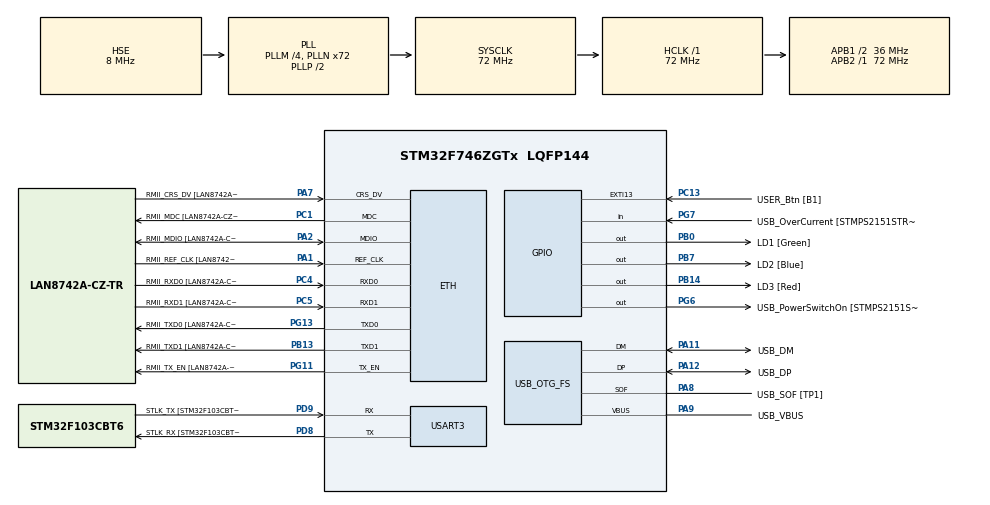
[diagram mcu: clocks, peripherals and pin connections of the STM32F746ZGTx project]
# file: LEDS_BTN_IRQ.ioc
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ETH.MediaInterface=ETH_MEDIA_INTERFACE_RMII
ETH.PHY_Name=LAN8742A_PHY_ADDRESS
ETH.PHY_Value=0
ETH.PhyAddress=0
Mcu.Family=STM32F7
Mcu.Name=STM32F746ZGTx
Mcu.Package=LQFP144
NVIC.EXTI15_10_IRQn=true\:0\:0\:false\:false\:true\:true\:true
NVIC.PriorityGroup=NVIC_PRIORITYGROUP_4
PA1.GPIO_Label=RMII_REF_CLK [LAN8742A-CZ-TR_REFCLK0]
PA1.Mode=RMII
PA1.Signal=ETH_REF_CLK
PA10.GPIO_Label=USB_ID
PA10.Signal=USB_OTG_FS_ID
PA11.GPIO_Label=USB_DM
PA11.Mode=Device_Only
PA11.Signal=USB_OTG_FS_DM
PA12.GPIO_Label=USB_DP
PA12.Mode=Device_Only
PA12.Signal=USB_OTG_FS_DP
PA13.GPIO_Label=TMS
PA13.Mode=Serial_Wire
PA13.Signal=SYS_JTMS-SWDIO
PA14.GPIO_Label=TCK
PA14.Mode=Serial_Wire
PA14.Signal=SYS_JTCK-SWCLK
PA2.GPIO_Label=RMII_MDIO [LAN8742A-CZ-TR_MDIO]
PA2.Mode=RMII
PA2.Signal=ETH_MDIO
PA7.GPIO_Label=RMII_CRS_DV [LAN8742A-CZ-TR_CRS_DV]
PA7.Mode=RMII
PA7.Signal=ETH_CRS_DV
PA8.GPIO_Label=USB_SOF [TP1]
PA8.Mode=Activate_SOF_FS
PA8.Signal=USB_OTG_FS_SOF
PA9.GPIO_Label=USB_VBUS
PA9.Mode=Activate_VBUS
PA9.Signal=USB_OTG_FS_VBUS
PB0.GPIO_Label=LD1 [Green]
PB0.Signal=GPIO_Output
PB13.GPIO_Label=RMII_TXD1 [LAN8742A-CZ-TR_TXD1]
PB13.Mode=RMII
PB13.Signal=ETH_TXD1
PB14.GPIO_Label=LD3 [Red]
PB14.Signal=GPIO_Output
PB3.GPIO_Label=SW0
PB3.Signal=SYS_JTDO-SWO
PB7.GPIO_Label=LD2 [Blue]
PB7.Signal=GPIO_Output
PC1.GPIO_Label=RMII_MDC [LAN8742A-CZ-TR_MDC]
PC1.Mode=RMII
PC1.Signal=ETH_MDC
PC13.GPIO_Label=USER_Btn [B1]
PC13.Signal=GPXTI13
PC14/OSC32_IN.Mode=LSE-External-Oscillator
PC14/OSC32_IN.Signal=RCC_OSC32_IN
PC15/OSC32_OUT.Mode=LSE-External-Oscillator
PC15/OSC32_OUT.Signal=RCC_OSC32_OUT
PC4.GPIO_Label=RMII_RXD0 [LAN8742A-CZ-TR_RXD0]
PC4.Mode=RMII
PC4.Signal=ETH_RXD0
PC5.GPIO_Label=RMII_RXD1 [LAN8742A-CZ-TR_RXD1]
PC5.Mode=RMII
PC5.Signal=ETH_RXD1
PD8.GPIO_Label=STLK_RX [STM32F103CBT6_PA3]
PD8.Mode=Asynchronous
PD8.Signal=USART3_TX
PD9.GPIO_Label=STLK_TX [STM32F103CBT6_PA2]
PD9.Mode=Asynchronous
PD9.Signal=USART3_RX
PG11.GPIO_Label=RMII_TX_EN [LAN8742A-CZ-TR_TXEN]
PG11.Mode=RMII
PG11.Signal=ETH_TX_EN
PG13.GPIO_Label=RMII_TXD0 [LAN8742A-CZ-TR_TXD0]
PG13.Mode=RMII
PG13.Signal=ETH_TXD0
PG6.GPIO_Label=USB_PowerSwitchOn [STMPS2151STR_EN]
PG6.Signal=GPIO_Output
PG7.GPIO_Label=USB_OverCurrent [STMPS2151STR_FAULT]
PG7.Signal=GPIO_Input
PH0/OSC_IN.GPIO_Label=MCO [STM32F103CBT6_PA8]
PH0/OSC_IN.Mode=HSE-External-Clock-Source
PH0/OSC_IN.Signal=RCC_OSC_IN
PH1/OSC_OUT.Mode=HSE-External-Clock-Source
PH1/OSC_OUT.Signal=RCC_OSC_OUT
ProjectManager.HeapSize=0x200
ProjectManager.StackSize=0x400
ProjectManager.TargetToolchain=STM32CubeIDE
RCC.48MHZClocksFreq_Value=24000000
RCC.AHBFreq_Value=72000000
RCC.APB1CLKDivider=RCC_HCLK_DIV2
RCC.APB1Freq_Value=36000000
RCC.APB1TimFreq_Value=72000000
RCC.APB2Freq_Value=72000000
RCC.APB2TimFreq_Value=72000000
RCC.CortexFreq_Value=72000000
RCC.HCLKFreq_Value=72000000
RCC.HSE_VALUE=8000000
RCC.HSI_VALUE=16000000
RCC.PLLM=4
RCC.PLLMUL=RCC_PLL_MUL9
RCC.PLLN=72
RCC.PLLQ=3
RCC.PRESCALERUSB=RCC_USBCLKSOURCE_PLL_DIV1_5
RCC.SYSCLKFreq_VALUE=72000000
RCC.SYSCLKSource=RCC_SYSCLKSOURCE_PLLCLK
RCC.SYSCLKSourceVirtual=RCC_SYSCLKSOURCE_PLLCLK
RCC.USBFreq_Value=48000000
RCC.VCOOutputFreq_Value=144000000
USART3.VirtualMode-Asynchronous=VM_ASYNC
USB_OTG_FS.VirtualMode=Device_Only
board=NUCLEO-F746ZG

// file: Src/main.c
/* USER CODE BEGIN Header */
/**
  ******************************************************************************
  * @file           : main.c
  * @brief          : Main program body
  ******************************************************************************
  * @attention
  *
  * <h2><center>&copy; Copyright (c) 2020 STMicroelectronics.
  * All rights reserved.</center></h2>
  *
  * This software component is licensed by ST under BSD 3-Clause license,
  * the "License"; You may not use this file except in compliance with the
  * License. You may obtain a copy of the License at:
  *                        opensource.org/licenses/BSD-3-Clause
  *
  ******************************************************************************
  */
/* USER CODE END Header */

#include "main.h"

/* USER CODE BEGIN Includes */
#include <stdio.h>

/* USER CODE END Includes */

ETH_HandleTypeDef heth;

UART_HandleTypeDef huart3;

PCD_HandleTypeDef hpcd_USB_OTG_FS;

/* USER CODE BEGIN PV */
uint8_t btn_irq_flag;

/* USER CODE END PV */

void SystemClock_Config(void);
static void MX_GPIO_Init(void);
static void MX_ETH_Init(void);
static void MX_USART3_UART_Init(void);
static void MX_USB_OTG_FS_PCD_Init(void);

/* USER CODE BEGIN 0 */
// for printf
#ifdef __GNUC__
/* With GCC/RAISONANCE, small printf (option LD Linker->Libraries->Small printf
 set to 'Yes') calls __io_putchar() */
#define PUTCHAR_PROTOTYPE int __io_putchar(int ch)
#else
#define PUTCHAR_PROTOTYPE int fputc(int ch, FILE *f)
#endif /* __GNUC__ */

/**
 * @brief Retargets the C library printf function to the USART.
 * @param None
 * @retval None
 */
PUTCHAR_PROTOTYPE
{
 /* Place your implementation of fputc here */
 /* e.g. write a character to the USART2 and Loop until the end of transmission */
 HAL_UART_Transmit(&huart3, (uint8_t *)&ch, 1, 0xFFFF);
// if(ch==10)
// {
//	 ch=13;
//	 HAL_UART_Transmit(&huart3, (uint8_t *)&ch, 1, 0xFFFF);
// }
return ch;
}
//===========================================================================

/* USER CODE END 0 */

int main(void)
{

  /* MCU Configuration--------------------------------------------------------*/

  /* Reset of all peripherals, Initializes the Flash interface and the Systick. */
  HAL_Init();

  /* Configure the system clock */
  SystemClock_Config();

  /* Initialize all configured peripherals */
  MX_GPIO_Init();
  MX_ETH_Init();
  MX_USART3_UART_Init();
  MX_USB_OTG_FS_PCD_Init();

  /* Infinite loop */
  /* USER CODE BEGIN WHILE */
  while (1)
  {

	  if(btn_irq_flag)
	  {
		  HAL_GPIO_TogglePin(LD3_GPIO_Port, LD3_Pin);
		  btn_irq_flag=0;
		  printf("button IRQ\n\r");
	  }
    /* USER CODE END WHILE */

    /* USER CODE BEGIN 3 */
	  HAL_Delay(100);
  }
  /* USER CODE END 3 */
}

/**
  * @brief  EXTI line detection callbacks.
  * @param  GPIO_Pin Specifies the pins connected EXTI line
  * @retval None
  */
 void HAL_GPIO_EXTI_Callback(uint16_t GPIO_Pin)
{
  /* Prevent unused argument(s) compilation warning */

  btn_irq_flag = 1;
  HAL_GPIO_TogglePin(LD2_GPIO_Port, LD2_Pin);
  /* NOTE: This function Should not be modified, when the callback is needed,
           the HAL_GPIO_EXTI_Callback could be implemented in the user file
   */
}

void SystemClock_Config(void)
{
  RCC_OscInitTypeDef RCC_OscInitStruct = {0};
  RCC_ClkInitTypeDef RCC_ClkInitStruct = {0};
  RCC_PeriphCLKInitTypeDef PeriphClkInitStruct = {0};

  /** Configure LSE Drive Capability
  */
  HAL_PWR_EnableBkUpAccess();
  /** Configure the main internal regulator output voltage
  */
  __HAL_RCC_PWR_CLK_ENABLE();
  __HAL_PWR_VOLTAGESCALING_CONFIG(PWR_REGULATOR_VOLTAGE_SCALE3);
  /** Initializes the CPU, AHB and APB busses clocks
  */
  RCC_OscInitStruct.OscillatorType = RCC_OSCILLATORTYPE_HSE;
  RCC_OscInitStruct.HSEState = RCC_HSE_BYPASS;
  RCC_OscInitStruct.PLL.PLLState = RCC_PLL_ON;
  RCC_OscInitStruct.PLL.PLLSource = RCC_PLLSOURCE_HSE;
  RCC_OscInitStruct.PLL.PLLM = 4;
  RCC_OscInitStruct.PLL.PLLN = 72;
  RCC_OscInitStruct.PLL.PLLP = RCC_PLLP_DIV2;
  RCC_OscInitStruct.PLL.PLLQ = 3;
  if (HAL_RCC_OscConfig(&RCC_OscInitStruct) != HAL_OK)
  {
    Error_Handler();
  }
  /** Initializes the CPU, AHB and APB busses clocks
  */
  RCC_ClkInitStruct.ClockType = RCC_CLOCKTYPE_HCLK|RCC_CLOCKTYPE_SYSCLK
                              |RCC_CLOCKTYPE_PCLK1|RCC_CLOCKTYPE_PCLK2;
  RCC_ClkInitStruct.SYSCLKSource = RCC_SYSCLKSOURCE_PLLCLK;
  RCC_ClkInitStruct.AHBCLKDivider = RCC_SYSCLK_DIV1;
  RCC_ClkInitStruct.APB1CLKDivider = RCC_HCLK_DIV2;
  RCC_ClkInitStruct.APB2CLKDivider = RCC_HCLK_DIV1;

  if (HAL_RCC_ClockConfig(&RCC_ClkInitStruct, FLASH_LATENCY_2) != HAL_OK)
  {
    Error_Handler();
  }
  PeriphClkInitStruct.PeriphClockSelection = RCC_PERIPHCLK_USART3|RCC_PERIPHCLK_CLK48;
  PeriphClkInitStruct.Usart3ClockSelection = RCC_USART3CLKSOURCE_PCLK1;
  PeriphClkInitStruct.Clk48ClockSelection = RCC_CLK48SOURCE_PLL;
  if (HAL_RCCEx_PeriphCLKConfig(&PeriphClkInitStruct) != HAL_OK)
  {
    Error_Handler();
  }
}

static void MX_ETH_Init(void)
{

   uint8_t MACAddr[6] ;

  heth.Instance = ETH;
  heth.Init.AutoNegotiation = ETH_AUTONEGOTIATION_ENABLE;
  heth.Init.PhyAddress = LAN8742A_PHY_ADDRESS;
  MACAddr[0] = 0x00;
  MACAddr[1] = 0x80;
  MACAddr[2] = 0xE1;
  MACAddr[3] = 0x00;
  MACAddr[4] = 0x00;
  MACAddr[5] = 0x00;
  heth.Init.MACAddr = &MACAddr[0];
  heth.Init.RxMode = ETH_RXPOLLING_MODE;
  heth.Init.ChecksumMode = ETH_CHECKSUM_BY_HARDWARE;
  heth.Init.MediaInterface = ETH_MEDIA_INTERFACE_RMII;

  if (HAL_ETH_Init(&heth) != HAL_OK)
  {
    Error_Handler();
  }

}

static void MX_USART3_UART_Init(void)
{

  huart3.Instance = USART3;
  huart3.Init.BaudRate = 115200;
  huart3.Init.WordLength = UART_WORDLENGTH_8B;
  huart3.Init.StopBits = UART_STOPBITS_1;
  huart3.Init.Parity = UART_PARITY_NONE;
  huart3.Init.Mode = UART_MODE_TX_RX;
  huart3.Init.HwFlowCtl = UART_HWCONTROL_NONE;
  huart3.Init.OverSampling = UART_OVERSAMPLING_16;
  huart3.Init.OneBitSampling = UART_ONE_BIT_SAMPLE_DISABLE;
  huart3.AdvancedInit.AdvFeatureInit = UART_ADVFEATURE_NO_INIT;
  if (HAL_UART_Init(&huart3) != HAL_OK)
  {
    Error_Handler();
  }

}

static void MX_USB_OTG_FS_PCD_Init(void)
{

  hpcd_USB_OTG_FS.Instance = USB_OTG_FS;
  hpcd_USB_OTG_FS.Init.dev_endpoints = 6;
  hpcd_USB_OTG_FS.Init.speed = PCD_SPEED_FULL;
  hpcd_USB_OTG_FS.Init.dma_enable = DISABLE;
  hpcd_USB_OTG_FS.Init.phy_itface = PCD_PHY_EMBEDDED;
  hpcd_USB_OTG_FS.Init.Sof_enable = ENABLE;
  hpcd_USB_OTG_FS.Init.low_power_enable = DISABLE;
  hpcd_USB_OTG_FS.Init.lpm_enable = DISABLE;
  hpcd_USB_OTG_FS.Init.vbus_sensing_enable = ENABLE;
  hpcd_USB_OTG_FS.Init.use_dedicated_ep1 = DISABLE;
  if (HAL_PCD_Init(&hpcd_USB_OTG_FS) != HAL_OK)
  {
    Error_Handler();
  }

}

static void MX_GPIO_Init(void)
{
  GPIO_InitTypeDef GPIO_InitStruct = {0};

  /* GPIO Ports Clock Enable */
  __HAL_RCC_GPIOC_CLK_ENABLE();
  __HAL_RCC_GPIOH_CLK_ENABLE();
  __HAL_RCC_GPIOA_CLK_ENABLE();
  __HAL_RCC_GPIOB_CLK_ENABLE();
  __HAL_RCC_GPIOD_CLK_ENABLE();
  __HAL_RCC_GPIOG_CLK_ENABLE();

  /*Configure GPIO pin Output Level */
  HAL_GPIO_WritePin(GPIOB, LD1_Pin|LD3_Pin|LD2_Pin, GPIO_PIN_RESET);

  /*Configure GPIO pin Output Level */
  HAL_GPIO_WritePin(USB_PowerSwitchOn_GPIO_Port, USB_PowerSwitchOn_Pin, GPIO_PIN_RESET);

  /*Configure GPIO pin : USER_Btn_Pin */
  GPIO_InitStruct.Pin = USER_Btn_Pin;
  GPIO_InitStruct.Mode = GPIO_MODE_IT_RISING;
  GPIO_InitStruct.Pull = GPIO_NOPULL;
  HAL_GPIO_Init(USER_Btn_GPIO_Port, &GPIO_InitStruct);

  /*Configure GPIO pins : LD1_Pin LD3_Pin LD2_Pin */
  GPIO_InitStruct.Pin = LD1_Pin|LD3_Pin|LD2_Pin;
  GPIO_InitStruct.Mode = GPIO_MODE_OUTPUT_PP;
  GPIO_InitStruct.Pull = GPIO_NOPULL;
  GPIO_InitStruct.Speed = GPIO_SPEED_FREQ_LOW;
  HAL_GPIO_Init(GPIOB, &GPIO_InitStruct);

  /*Configure GPIO pin : USB_PowerSwitchOn_Pin */
  GPIO_InitStruct.Pin = USB_PowerSwitchOn_Pin;
  GPIO_InitStruct.Mode = GPIO_MODE_OUTPUT_PP;
  GPIO_InitStruct.Pull = GPIO_NOPULL;
  GPIO_InitStruct.Speed = GPIO_SPEED_FREQ_LOW;
  HAL_GPIO_Init(USB_PowerSwitchOn_GPIO_Port, &GPIO_InitStruct);

  /*Configure GPIO pin : USB_OverCurrent_Pin */
  GPIO_InitStruct.Pin = USB_OverCurrent_Pin;
  GPIO_InitStruct.Mode = GPIO_MODE_INPUT;
  GPIO_InitStruct.Pull = GPIO_NOPULL;
  HAL_GPIO_Init(USB_OverCurrent_GPIO_Port, &GPIO_InitStruct);

  /* EXTI interrupt init*/
  HAL_NVIC_SetPriority(EXTI15_10_IRQn, 0, 0);
  HAL_NVIC_EnableIRQ(EXTI15_10_IRQn);

}

void Error_Handler(void)
{
}

/************************ (C) COPYRIGHT STMicroelectronics *****END OF FILE****/
